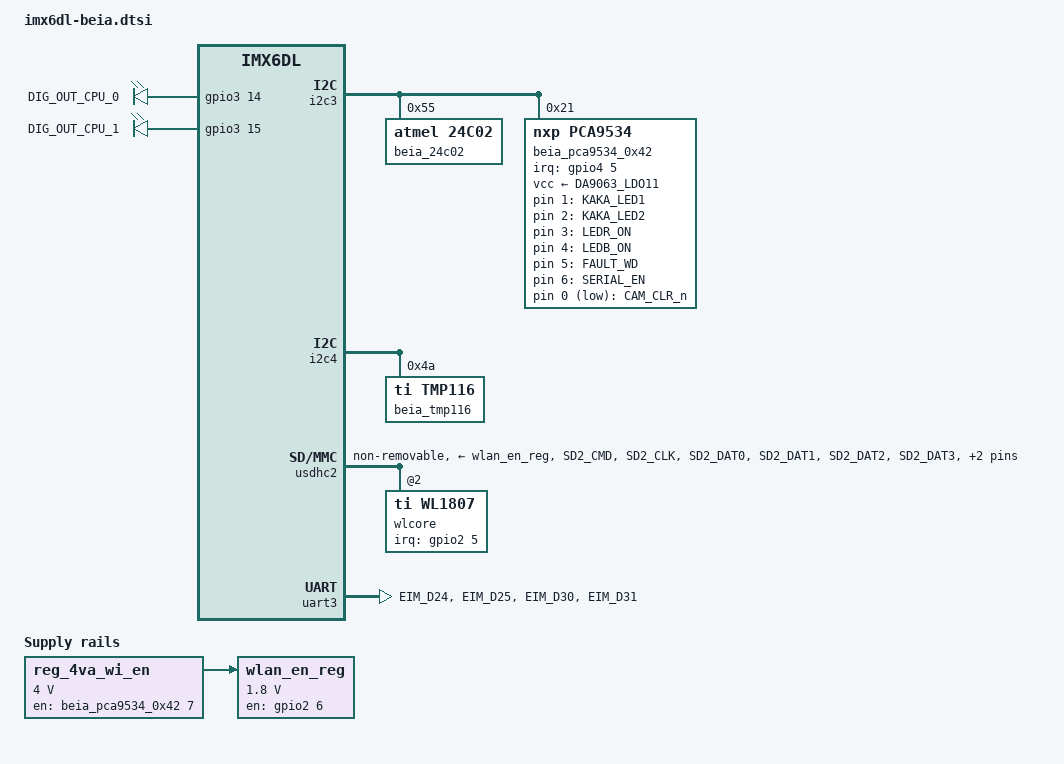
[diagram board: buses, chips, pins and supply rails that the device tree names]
/*
 * Copyright 2018 FLIR Systems.
 *
 * The code contained herein is licensed under the GNU General Public
 * License. You may obtain a copy of the GNU General Public License
 * Version 2 or later at the following locations:
 *
 * http://www.opensource.org/licenses/gpl-license.html
 * http://www.gnu.org/copyleft/gpl.html
 */

#include <dt-bindings/input/input.h>
/* This file represents beia-b */

/ {
	regulators {
		compatible = "simple-bus";

		reg_4va_wi_en: reg_4va_wi_en {
			compatible = "regulator-fixed";
			regulator-name = "4VA_WI";
			regulator-min-microvolt = <4000000>;
			regulator-max-microvolt = <4000000>;
			gpio = <&beia_pca9534_0x42 7 GPIO_ACTIVE_HIGH>;
			startup-delay-us = <10000>;
			enable-active-high;
		};

		wlan_en_reg: wlan_en_reg {
			compatible = "regulator-fixed";
			regulator-name = "wlan-en";
			regulator-min-microvolt = <1800000>;
			regulator-max-microvolt = <1800000>;
			gpio = <&gpio2 6 GPIO_ACTIVE_HIGH>;
			startup-delay-us = <70000>;
			enable-active-high;
			vin-supply = <&reg_4va_wi_en>;
		};

	};

	/* DIG_OUT */
	dig-out {
		compatible = "gpio-leds";

		kaka_led1 {
			label = "KAKA_LED1";
			gpios = <&beia_pca9534_0x42 1 GPIO_ACTIVE_HIGH>;
			default-state = "off";
		};

		kaka_led2 {
			label = "KAKA_LED2";
			gpios = <&beia_pca9534_0x42 2 GPIO_ACTIVE_HIGH>;
			default-state = "off";
		};

		ledr_on {
			label = "LEDR_ON";
			gpios = <&beia_pca9534_0x42 3 GPIO_ACTIVE_HIGH>;
			default-state = "off";
		};

		ledb_on {
			label = "LEDB_ON";
			gpios = <&beia_pca9534_0x42 4 GPIO_ACTIVE_HIGH>;
			default-state = "off";
			linux,default-trigger = "heartbeat";
		};

		fault_wd {
			label = "FAULT_WD";
			gpios = <&beia_pca9534_0x42 5 GPIO_ACTIVE_HIGH>;
			default-state = "off";
		};

		serial_en {
			label = "SERIAL_EN";
			gpios = <&beia_pca9534_0x42 6 GPIO_ACTIVE_HIGH>;
			default-state = "off";
		};

		// TEMPORARY definition for DIG_OUT_CPU
		// Should be handled by who? should be defined by -ec501.dtsi!
		dig_out_cpu_0 {
			label = "DIG_OUT_CPU_0";
			gpios = <&gpio3 14 GPIO_ACTIVE_HIGH>;
			default-state = "off";
		};

		dig_out_cpu_1 {
			label = "DIG_OUT_CPU_1";
			gpios = <&gpio3 15 GPIO_ACTIVE_HIGH>;
			default-state = "off";
		};
	};

	/* DIG_IN */
	dig-in {
		compatible = "gpio-keys";

		cam_clr {
			label = "CAM_CLR_n";
			gpios = <&beia_pca9534_0x42 0 GPIO_ACTIVE_LOW>;
			linux,input-type = <5>; /* EV_SW */
			linux,code = <2>;
			debounce-interval = <5>;
		};
	};
};

&i2c3 {
	/* ID-EEPROM */
	beia_24c02: beia_24c02@55 {
		compatible = "atmel,24c02";
		reg = <0x55>;
		pagesize = <16>;
	};

	/* I/O Expander */
	beia_pca9534_0x42: beia_pca9534_0x42@21 {
		compatible = "nxp,pca9534";
		reg = <0x21>;
		gpio-controller;
		vcc-supply = <&DA9063_LDO11>;
		interrupt-parent = <&gpio4>; //I2C3_ALERT_n
		interrupts = <5 0x2>;
		interrupt-controller;
		interrupts-shared;
		#interrupt-cells = <2>;
		#gpio-cells = <2>;
		//B0 CAM_CLR_n input
		//B1 KAKA_LED1 output
		//B2 KAKA_LED2 output
		//B3 LEDR_ON output
		//B4 LEDB_ON output
		//B5 FAULT_WD output
		//B6 SERIAL_EN output
		//B7 WLAN_POWER_EN output
	};
};

&i2c4 {
	/* TempSensor */
	beia_tmp116: beia_tmp116@4a {
		compatible = "ti,tmp116";
		reg = <0x4a>;
	};
};

/* Wi-Fi */
&usdhc2 {
	pinctrl-names = "default";
	pinctrl-0 = <&pinctrl_usdhc2>;
	vmmc-supply = <&wlan_en_reg>;
	non-removable;
	no-1-8-v;
	keep-power-in-suspend;
	max-frequency = <25000000>;
	status = "okay";
	#address-cells = <1>;
	#size-cells = <0>;

	wlcore: wlcore@2 {
		compatible = "ti,wl1807";
		reg = <2>;
		interrupt-parent = <&gpio2>;
		interrupts = <5 IRQ_TYPE_LEVEL_HIGH>;
		platform-quirks = <1>;
	};
};

/* RS232/RS485 */
&uart3 {
	pinctrl-names = "default";
	pinctrl-0 = <&pinctrl_uart3>;
	status = "okay";
	flir,rs485-enable-gpios = <&gpio3 31 GPIO_ACTIVE_HIGH>;
	flir,rs485-txen-gpios = <&gpio3 30 GPIO_ACTIVE_HIGH>;
	flir,rs485-gpio-delays = <0 0 2>;  // txen on/txen off/enable switch delay (ms)
	//flir,rs485-gpio-delays = <2 1 2>;  // BEIA rev A
	linux,rs485-enabled-at-boot-time;
};

&iomuxc {
	imx6dl-ec {
		pinctrl_usdhc2: usdhc2grp {
			fsl,pins = <
				/* Use 22 kohm pull up on SD signals */
				MX6QDL_PAD_SD2_CMD__SD2_CMD		0x1f020
				MX6QDL_PAD_SD2_CLK__SD2_CLK		0x10020
				MX6QDL_PAD_SD2_DAT0__SD2_DATA0		0x1f020
				MX6QDL_PAD_SD2_DAT1__SD2_DATA1		0x1f020
				MX6QDL_PAD_SD2_DAT2__SD2_DATA2		0x1f020
				MX6QDL_PAD_SD2_DAT3__SD2_DATA3		0x1f020
				MX6QDL_PAD_NANDF_D6__GPIO2_IO06		0x40000010
				MX6QDL_PAD_NANDF_D5__GPIO2_IO05		0x1b010
			>;
		};

		pinctrl_uart3: uart3grp {
			fsl,pins = <
				MX6QDL_PAD_EIM_D24__UART3_TX_DATA	0x1b0b1
				MX6QDL_PAD_EIM_D25__UART3_RX_DATA	0x1b0b1
				MX6QDL_PAD_EIM_D30__GPIO3_IO30		0x40000010
				MX6QDL_PAD_EIM_D31__GPIO3_IO31		0x40000010
			>;
		};
	};
};

